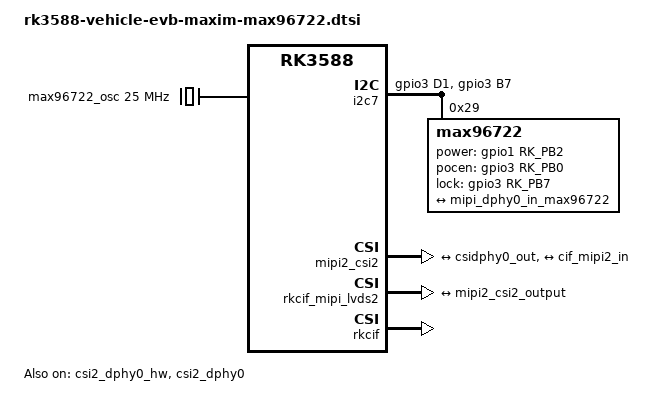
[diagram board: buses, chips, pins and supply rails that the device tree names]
// SPDX-License-Identifier: (GPL-2.0+ OR MIT)
/*
 * Copyright (c) 2023 Rockchip Electronics Co., Ltd.
 *
 */

/ {
	max96722_osc: max96722-oscillator {
		compatible = "fixed-clock";
		#clock-cells = <1>;
		clock-frequency = <25000000>;
		clock-output-names = "max96722-osc";
	};
};

&csi2_dphy0_hw {
	status = "okay";
};

&csi2_dphy0 {
	status = "okay";

	ports {
		#address-cells = <1>;
		#size-cells = <0>;
		port@0 {
			reg = <0>;
			#address-cells = <1>;
			#size-cells = <0>;

			mipi_dphy0_in_max96722: endpoint@1 {
				reg = <1>;
				remote-endpoint = <&max96722_out>;
				data-lanes = <1 2 3 4>;
			};
		};
		port@1 {
			reg = <1>;
			#address-cells = <1>;
			#size-cells = <0>;

			csidphy0_out: endpoint@0 {
				reg = <0>;
				remote-endpoint = <&mipi2_csi2_input>;
			};
		};
	};
};

&i2c7 {
	status = "okay";
	pinctrl-names = "default";
	pinctrl-0 = <&i2c7m3_xfer>, <&max96722_errb>, <&max96722_lock>;

	max96722: max96722@29 {
		compatible = "max96722";
		status = "okay";
		reg = <0x29>;
		clock-names = "xvclk";
		clocks = <&max96722_osc 0>;
		power-domains = <&power RK3588_PD_VI>;
		rockchip,grf = <&sys_grf>;
		power-gpios = <&gpio1 RK_PB2 GPIO_ACTIVE_HIGH>;
		pocen-gpios = <&gpio3 RK_PB0 GPIO_ACTIVE_HIGH>;
		lock-gpios = <&gpio3 RK_PB7 GPIO_ACTIVE_HIGH>;
		link-mask = <0x0F>;
		auto-init-deskew-mask = <0x03>;
		frame-sync-period = <0>;
		rockchip,camera-module-index = <0>;
		rockchip,camera-module-facing = "back";
		rockchip,camera-module-name = "max96722";
		rockchip,camera-module-lens-name = "max96722";

		port {
			max96722_out: endpoint {
				remote-endpoint = <&mipi_dphy0_in_max96722>;
				data-lanes = <1 2 3 4>;
			};
		};
	};
};

&mipi2_csi2 {
	status = "okay";

	ports {
		#address-cells = <1>;
		#size-cells = <0>;

		port@0 {
			reg = <0>;
			#address-cells = <1>;
			#size-cells = <0>;

			mipi2_csi2_input: endpoint@1 {
				reg = <1>;
				remote-endpoint = <&csidphy0_out>;
			};
		};

		port@1 {
			reg = <1>;
			#address-cells = <1>;
			#size-cells = <0>;

			mipi2_csi2_output: endpoint@0 {
				reg = <0>;
				remote-endpoint = <&cif_mipi2_in>;
			};
		};
	};
};

&rkcif_mipi_lvds2 {
	status = "okay";
	/* parameters for do cif reset detecting:
	 * index0: monitor mode,
		   0 for idle,
		   1 for continue,
		   2 for trigger,
		   3 for hotplug (for nextchip)
	 * index1: the frame id to start timer,
		   min is 2
	 * index2: frame num of monitoring cycle
	 * index3: err time for keep monitoring
		   after finding out err (ms)
	 * index4: csi2 err reference val for resetting
	 */
	rockchip,cif-monitor = <3 2 1 1000 5>;

	port {
		cif_mipi2_in: endpoint {
			remote-endpoint = <&mipi2_csi2_output>;
		};
	};
};

&rkcif {
	status = "okay";
	rockchip,android-usb-camerahal-enable;
};

&rkcif_mmu {
	status = "okay";
};

&pinctrl {
	max96722 {
		max96722_errb: max96722-errb {
			rockchip,pins = <3 RK_PD1 RK_FUNC_GPIO &pcfg_pull_up>;
		};

		max96722_lock: max96722-lock {
			rockchip,pins = <3 RK_PB7 RK_FUNC_GPIO &pcfg_pull_up>;
		};
	};
};
